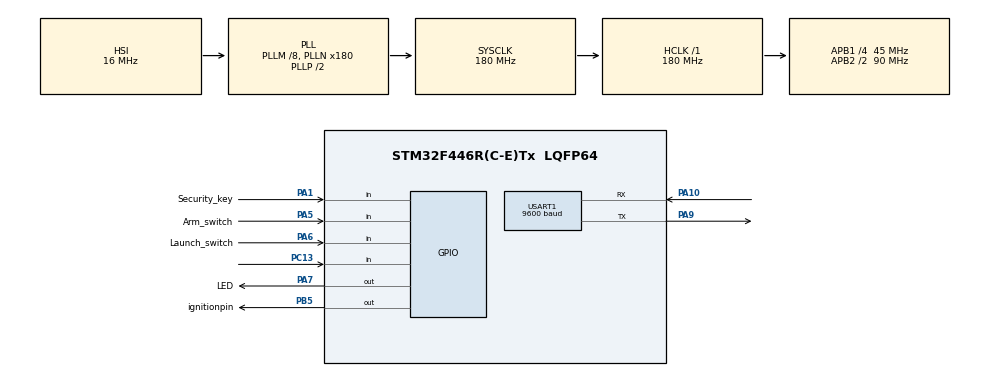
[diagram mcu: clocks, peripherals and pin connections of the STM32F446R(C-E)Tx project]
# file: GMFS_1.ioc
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Dma.Request0=USART1_RX
Dma.Request1=USART1_TX
Dma.USART1_RX.0.Direction=DMA_PERIPH_TO_MEMORY
Dma.USART1_RX.0.FIFOMode=DMA_FIFOMODE_DISABLE
Dma.USART1_RX.0.Instance=DMA2_Stream2
Dma.USART1_RX.0.MemDataAlignment=DMA_MDATAALIGN_BYTE
Dma.USART1_RX.0.MemInc=DMA_MINC_ENABLE
Dma.USART1_RX.0.Mode=DMA_CIRCULAR
Dma.USART1_RX.0.PeriphDataAlignment=DMA_PDATAALIGN_BYTE
Dma.USART1_RX.0.PeriphInc=DMA_PINC_DISABLE
Dma.USART1_RX.0.Priority=DMA_PRIORITY_LOW
Dma.USART1_TX.1.Direction=DMA_MEMORY_TO_PERIPH
Dma.USART1_TX.1.FIFOMode=DMA_FIFOMODE_DISABLE
Dma.USART1_TX.1.Instance=DMA2_Stream7
Dma.USART1_TX.1.MemDataAlignment=DMA_MDATAALIGN_BYTE
Dma.USART1_TX.1.MemInc=DMA_MINC_ENABLE
Dma.USART1_TX.1.Mode=DMA_CIRCULAR
Dma.USART1_TX.1.PeriphDataAlignment=DMA_PDATAALIGN_BYTE
Dma.USART1_TX.1.PeriphInc=DMA_PINC_DISABLE
Dma.USART1_TX.1.Priority=DMA_PRIORITY_LOW
Mcu.Family=STM32F4
Mcu.Name=STM32F446R(C-E)Tx
Mcu.Package=LQFP64
NVIC.DMA2_Stream2_IRQn=true\:0\:0\:false\:false\:true\:false\:true\:true
NVIC.DMA2_Stream7_IRQn=true\:0\:0\:false\:false\:true\:false\:true\:true
NVIC.PriorityGroup=NVIC_PRIORITYGROUP_4
NVIC.USART1_IRQn=true\:0\:0\:false\:false\:true\:true\:true\:true
PA1.GPIO_Label=Security_key
PA1.Signal=GPIO_Input
PA10.Mode=Asynchronous
PA10.Signal=USART1_RX
PA13.Mode=Serial_Wire
PA13.Signal=SYS_JTMS-SWDIO
PA14.Mode=Serial_Wire
PA14.Signal=SYS_JTCK-SWCLK
PA5.GPIO_Label=Arm_switch
PA5.Signal=GPIO_Input
PA6.GPIO_Label=Launch_switch
PA6.Signal=GPIO_Input
PA7.GPIO_Label=LED
PA7.Signal=GPIO_Output
PA9.Mode=Asynchronous
PA9.Signal=USART1_TX
PB5.GPIO_Label=ignitionpin
PB5.Signal=GPIO_Output
PC13.Signal=GPIO_Input
PH0-OSC_IN.Mode=HSE-External-Oscillator
PH0-OSC_IN.Signal=RCC_OSC_IN
PH1-OSC_OUT.Mode=HSE-External-Oscillator
PH1-OSC_OUT.Signal=RCC_OSC_OUT
ProjectManager.HeapSize=0x200
ProjectManager.StackSize=0x400
ProjectManager.TargetToolchain=STM32CubeIDE
RCC.AHBFreq_Value=180000000
RCC.APB1CLKDivider=RCC_HCLK_DIV4
RCC.APB1Freq_Value=45000000
RCC.APB1TimFreq_Value=90000000
RCC.APB2CLKDivider=RCC_HCLK_DIV2
RCC.APB2Freq_Value=90000000
RCC.APB2TimFreq_Value=180000000
RCC.CortexFreq_Value=180000000
RCC.HCLKFreq_Value=180000000
RCC.PLLM=8
RCC.PLLN=180
RCC.SYSCLKFreq_VALUE=180000000
RCC.SYSCLKSource=RCC_SYSCLKSOURCE_PLLCLK
RCC.USBFreq_Value=180000000
RCC.VCOOutputFreq_Value=360000000
USART1.BaudRate=9600
USART1.VirtualMode=VM_ASYNC
board=custom

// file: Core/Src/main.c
/* USER CODE BEGIN Header */
/**
  ******************************************************************************
  * @file           : main.c
  * @brief          : Main program body
  ******************************************************************************
  * @attention
  *
  * Copyright (c) 2023 STMicroelectronics.
  * All rights reserved.
  *
  * This software is licensed under terms that can be found in the LICENSE file
  * in the root directory of this software component.
  * If no LICENSE file comes with this software, it is provided AS-IS.
  *
  ******************************************************************************
  */
/* USER CODE END Header */
#include "main.h"

/* USER CODE BEGIN Includes */
#include<stdbool.h>
#include<stdlib.h>
/* USER CODE END Includes */

UART_HandleTypeDef huart1;
DMA_HandleTypeDef hdma_usart1_rx;
DMA_HandleTypeDef hdma_usart1_tx;

void SystemClock_Config(void);
static void MX_GPIO_Init(void);
static void MX_DMA_Init(void);
static void MX_USART1_UART_Init(void);

/* USER CODE BEGIN 0 */
//uint8_t charToTransmit[1];
char rx_data[1]={0};
bool Sec_key = 0, Arm_switch = 0, Ign_switch = 0;
bool seq_flag = 0;
bool ignition = 0;
//GMFS status Signals
char key[1]="K";
char arm[1]="A";
char launch[1]="L";
char pre_flight_check[1]="C";
char kill[1]="K";
char error[1]="E";
char ignite[1]="I";
void seq_check()
	{
		if(HAL_GPIO_ReadPin(GPIOA, GPIO_PIN_1) == 0 && HAL_GPIO_ReadPin(GPIOA, GPIO_PIN_5)== 0 && HAL_GPIO_ReadPin(GPIOA, GPIO_PIN_6) == 0) seq_flag = 1;
		else if(Sec_key==0 && HAL_GPIO_ReadPin(GPIOA, GPIO_PIN_5)==1) seq_flag=0;

	}
/* USER CODE END 0 */

int main(void)
{

  /* MCU Configuration--------------------------------------------------------*/

  /* Reset of all peripherals, Initializes the Flash interface and the Systick. */
  HAL_Init();

  /* Configure the system clock */
  SystemClock_Config();

  /* Initialize all configured peripherals */
  MX_GPIO_Init();
  MX_DMA_Init();
  MX_USART1_UART_Init();
  /* USER CODE BEGIN 2 */
HAL_UART_Receive_DMA(&huart1, rx_data, sizeof(rx_data));
  /* USER CODE END 2 */

  /* Infinite loop */
  /* USER CODE BEGIN WHILE */
  while (1)
  {
	seq_check();
	if(seq_flag ==1){
		if(HAL_GPIO_ReadPin(GPIOA, GPIO_PIN_1) == 1 || Sec_key == 1)
		{
			Sec_key=1;
			HAL_UART_Transmit(&huart1, key, sizeof(key), 100);

			if(HAL_GPIO_ReadPin(GPIOA, GPIO_PIN_1) == 0 && Arm_switch == 0  ) {
				Sec_key = 0; // Notify the user to reset the inputs
				seq_flag = 0;
				Arm_switch = 0;
				Ign_switch = 0;
				HAL_UART_Transmit(&huart1, error, sizeof(error), 100);
			}

			else{
				if(HAL_GPIO_ReadPin(GPIOA, GPIO_PIN_5)== 1 || Arm_switch == 1 ){
					Arm_switch = 1;
					HAL_UART_Transmit(&huart1, arm, sizeof(arm), 100);

					if(HAL_GPIO_ReadPin(GPIOA, GPIO_PIN_5) == 0) Arm_switch = 0;
					HAL_UART_Transmit(&huart1, error, sizeof(error), 100);

					if(HAL_GPIO_ReadPin(GPIOA, GPIO_PIN_6) == 1 || Ign_switch == 1 ){
						HAL_UART_Transmit(&huart1, launch, sizeof(launch), 100);
						HAL_Delay(5000);

						if(HAL_GPIO_ReadPin(GPIOA, GPIO_PIN_6) == 1) {
							Ign_switch = 1;
							HAL_UART_Transmit(&huart1, ignite, sizeof(ignite), 100);
							HAL_Delay(2000);
						HAL_Delay(200);
						exit(0);
						}
						else
						{
							Sec_key=0;
							Arm_switch = 0;
							seq_flag = 0;
							HAL_UART_Transmit(&huart1, error, sizeof(error), 100);

						}

					}
				}
			}
		}

    /* USER CODE END WHILE */

    /* USER CODE BEGIN 3 */
  }
	if(HAL_GPIO_ReadPin(GPIOA, GPIO_PIN_7) == 1) //kill switch)
		HAL_UART_Transmit(&huart1, kill, sizeof(kill), 100);
  /* USER CODE END 3 */
}

void SystemClock_Config(void)
{
  RCC_OscInitTypeDef RCC_OscInitStruct = {0};
  RCC_ClkInitTypeDef RCC_ClkInitStruct = {0};

  /** Configure the main internal regulator output voltage
  */
  __HAL_RCC_PWR_CLK_ENABLE();
  __HAL_PWR_VOLTAGESCALING_CONFIG(PWR_REGULATOR_VOLTAGE_SCALE1);

  /** Initializes the RCC Oscillators according to the specified parameters
  * in the RCC_OscInitTypeDef structure.
  */
  RCC_OscInitStruct.OscillatorType = RCC_OSCILLATORTYPE_HSI;
  RCC_OscInitStruct.HSIState = RCC_HSI_ON;
  RCC_OscInitStruct.HSICalibrationValue = RCC_HSICALIBRATION_DEFAULT;
  RCC_OscInitStruct.PLL.PLLState = RCC_PLL_ON;
  RCC_OscInitStruct.PLL.PLLSource = RCC_PLLSOURCE_HSI;
  RCC_OscInitStruct.PLL.PLLM = 8;
  RCC_OscInitStruct.PLL.PLLN = 180;
  RCC_OscInitStruct.PLL.PLLP = RCC_PLLP_DIV2;
  RCC_OscInitStruct.PLL.PLLQ = 2;
  RCC_OscInitStruct.PLL.PLLR = 2;
  if (HAL_RCC_OscConfig(&RCC_OscInitStruct) != HAL_OK)
  {
    Error_Handler();
  }

  /** Activate the Over-Drive mode
  */
  if (HAL_PWREx_EnableOverDrive() != HAL_OK)
  {
    Error_Handler();
  }

  /** Initializes the CPU, AHB and APB buses clocks
  */
  RCC_ClkInitStruct.ClockType = RCC_CLOCKTYPE_HCLK|RCC_CLOCKTYPE_SYSCLK
                              |RCC_CLOCKTYPE_PCLK1|RCC_CLOCKTYPE_PCLK2;
  RCC_ClkInitStruct.SYSCLKSource = RCC_SYSCLKSOURCE_PLLCLK;
  RCC_ClkInitStruct.AHBCLKDivider = RCC_SYSCLK_DIV1;
  RCC_ClkInitStruct.APB1CLKDivider = RCC_HCLK_DIV4;
  RCC_ClkInitStruct.APB2CLKDivider = RCC_HCLK_DIV2;

  if (HAL_RCC_ClockConfig(&RCC_ClkInitStruct, FLASH_LATENCY_5) != HAL_OK)
  {
    Error_Handler();
  }
}

static void MX_USART1_UART_Init(void)
{

  huart1.Instance = USART1;
  huart1.Init.BaudRate = 9600;
  huart1.Init.WordLength = UART_WORDLENGTH_8B;
  huart1.Init.StopBits = UART_STOPBITS_1;
  huart1.Init.Parity = UART_PARITY_NONE;
  huart1.Init.Mode = UART_MODE_TX_RX;
  huart1.Init.HwFlowCtl = UART_HWCONTROL_NONE;
  huart1.Init.OverSampling = UART_OVERSAMPLING_16;
  if (HAL_UART_Init(&huart1) != HAL_OK)
  {
    Error_Handler();
  }

}

static void MX_DMA_Init(void)
{

  /* DMA controller clock enable */
  __HAL_RCC_DMA2_CLK_ENABLE();

  /* DMA interrupt init */
  /* DMA2_Stream2_IRQn interrupt configuration */
  HAL_NVIC_SetPriority(DMA2_Stream2_IRQn, 0, 0);
  HAL_NVIC_EnableIRQ(DMA2_Stream2_IRQn);
  /* DMA2_Stream7_IRQn interrupt configuration */
  HAL_NVIC_SetPriority(DMA2_Stream7_IRQn, 0, 0);
  HAL_NVIC_EnableIRQ(DMA2_Stream7_IRQn);

}

static void MX_GPIO_Init(void)
{
  GPIO_InitTypeDef GPIO_InitStruct = {0};

  /* GPIO Ports Clock Enable */
  __HAL_RCC_GPIOC_CLK_ENABLE();
  __HAL_RCC_GPIOH_CLK_ENABLE();
  __HAL_RCC_GPIOA_CLK_ENABLE();
  __HAL_RCC_GPIOB_CLK_ENABLE();

  /*Configure GPIO pin Output Level */
  HAL_GPIO_WritePin(LED_GPIO_Port, LED_Pin, GPIO_PIN_RESET);

  /*Configure GPIO pin Output Level */
  HAL_GPIO_WritePin(ignitionpin_GPIO_Port, ignitionpin_Pin, GPIO_PIN_RESET);

  /*Configure GPIO pin : PC13 */
  GPIO_InitStruct.Pin = GPIO_PIN_13;
  GPIO_InitStruct.Mode = GPIO_MODE_INPUT;
  GPIO_InitStruct.Pull = GPIO_NOPULL;
  HAL_GPIO_Init(GPIOC, &GPIO_InitStruct);

  /*Configure GPIO pins : Security_key_Pin Arm_switch_Pin Launch_switch_Pin */
  GPIO_InitStruct.Pin = Security_key_Pin|Arm_switch_Pin|Launch_switch_Pin;
  GPIO_InitStruct.Mode = GPIO_MODE_INPUT;
  GPIO_InitStruct.Pull = GPIO_NOPULL;
  HAL_GPIO_Init(GPIOA, &GPIO_InitStruct);

  /*Configure GPIO pin : LED_Pin */
  GPIO_InitStruct.Pin = LED_Pin;
  GPIO_InitStruct.Mode = GPIO_MODE_OUTPUT_PP;
  GPIO_InitStruct.Pull = GPIO_NOPULL;
  GPIO_InitStruct.Speed = GPIO_SPEED_FREQ_LOW;
  HAL_GPIO_Init(LED_GPIO_Port, &GPIO_InitStruct);

  /*Configure GPIO pin : ignitionpin_Pin */
  GPIO_InitStruct.Pin = ignitionpin_Pin;
  GPIO_InitStruct.Mode = GPIO_MODE_OUTPUT_PP;
  GPIO_InitStruct.Pull = GPIO_NOPULL;
  GPIO_InitStruct.Speed = GPIO_SPEED_FREQ_LOW;
  HAL_GPIO_Init(ignitionpin_GPIO_Port, &GPIO_InitStruct);

}

void Error_Handler(void)
{
  __disable_irq();
  while (1)
  {
  }
  }
}
